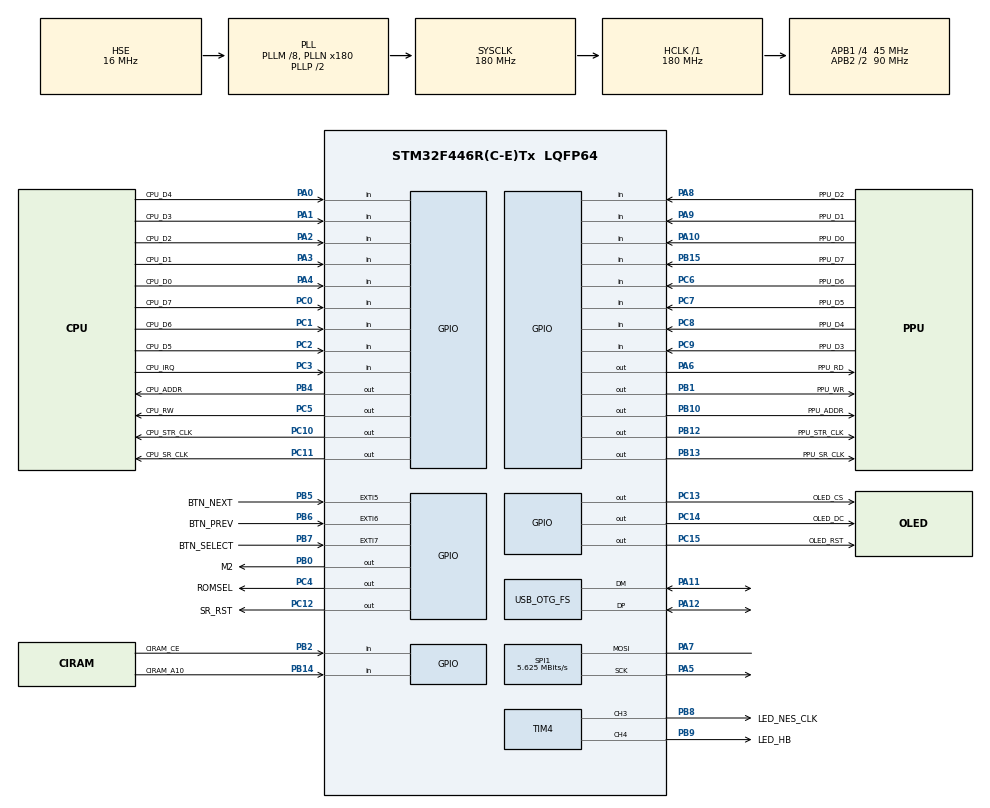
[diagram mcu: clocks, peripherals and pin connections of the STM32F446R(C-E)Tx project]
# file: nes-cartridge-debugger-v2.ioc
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Mcu.Family=STM32F4
Mcu.Name=STM32F446R(C-E)Tx
Mcu.Package=LQFP64
NVIC.EXTI9_5_IRQn=true\:0\:0\:false\:false\:true\:true\:true\:true
NVIC.OTG_FS_IRQn=true\:0\:0\:false\:false\:true\:false\:true\:true
NVIC.PriorityGroup=NVIC_PRIORITYGROUP_4
PA0-WKUP.GPIO_Label=CPU_D4
PA0-WKUP.Signal=GPIO_Input
PA1.GPIO_Label=CPU_D3
PA1.Signal=GPIO_Input
PA10.GPIO_Label=PPU_D0
PA10.Signal=GPIO_Input
PA11.Mode=Device_Only
PA11.Signal=USB_OTG_FS_DM
PA12.Mode=Device_Only
PA12.Signal=USB_OTG_FS_DP
PA13.Mode=Trace_Asynchronous_SW
PA13.Signal=SYS_JTMS-SWDIO
PA14.Mode=Trace_Asynchronous_SW
PA14.Signal=SYS_JTCK-SWCLK
PA2.GPIO_Label=CPU_D2
PA2.Signal=GPIO_Input
PA3.GPIO_Label=CPU_D1
PA3.Signal=GPIO_Input
PA4.GPIO_Label=CPU_D0
PA4.Signal=GPIO_Input
PA5.Mode=Simplex_Bidirectional_Master
PA5.Signal=SPI1_SCK
PA6.GPIO_Label=PPU_RD
PA6.GPIO_ModeDefaultOutputPP=GPIO_MODE_OUTPUT_PP
PA6.GPIO_PuPd=GPIO_NOPULL
PA6.GPIO_Speed=GPIO_SPEED_FREQ_VERY_HIGH
PA6.PinState=GPIO_PIN_SET
PA6.Signal=GPIO_Output
PA7.Mode=Simplex_Bidirectional_Master
PA7.Signal=SPI1_MOSI
PA8.GPIO_Label=PPU_D2
PA8.Signal=GPIO_Input
PA9.GPIO_Label=PPU_D1
PA9.Signal=GPIO_Input
PB0.GPIO_Label=M2
PB0.GPIO_Speed=GPIO_SPEED_FREQ_VERY_HIGH
PB0.Signal=GPIO_Output
PB1.GPIO_Label=PPU_WR
PB1.GPIO_Speed=GPIO_SPEED_FREQ_VERY_HIGH
PB1.PinState=GPIO_PIN_SET
PB1.Signal=GPIO_Output
PB10.GPIO_Label=PPU_ADDR
PB10.GPIO_Speed=GPIO_SPEED_FREQ_VERY_HIGH
PB10.Signal=GPIO_Output
PB12.GPIO_Label=PPU_STR_CLK
PB12.GPIO_Speed=GPIO_SPEED_FREQ_VERY_HIGH
PB12.Signal=GPIO_Output
PB13.GPIO_Label=PPU_SR_CLK
PB13.GPIO_Speed=GPIO_SPEED_FREQ_VERY_HIGH
PB13.Signal=GPIO_Output
PB14.GPIO_Label=CIRAM_A10
PB14.Signal=GPIO_Input
PB15.GPIO_Label=PPU_D7
PB15.Signal=GPIO_Input
PB2.GPIO_Label=CIRAM_CE
PB2.Signal=GPIO_Input
PB3.Mode=Trace_Asynchronous_SW
PB3.Signal=SYS_JTDO-SWO
PB4.GPIO_Label=CPU_ADDR
PB4.GPIO_Speed=GPIO_SPEED_FREQ_VERY_HIGH
PB4.Signal=GPIO_Output
PB5.GPIO_Label=BTN_NEXT
PB5.GPIO_ModeDefaultEXTI=GPIO_MODE_IT_FALLING
PB5.Signal=GPXTI5
PB6.GPIO_Label=BTN_PREV
PB6.GPIO_ModeDefaultEXTI=GPIO_MODE_IT_FALLING
PB6.Signal=GPXTI6
PB7.GPIO_Label=BTN_SELECT
PB7.GPIO_ModeDefaultEXTI=GPIO_MODE_IT_FALLING
PB7.Signal=GPXTI7
PB8.GPIO_Label=LED_NES_CLK
PB8.Signal=S_TIM4_CH3
PB9.GPIO_Label=LED_HB
PB9.Signal=S_TIM4_CH4
PC0.GPIO_Label=CPU_D7
PC0.Signal=GPIO_Input
PC1.GPIO_Label=CPU_D6
PC1.Signal=GPIO_Input
PC10.GPIO_Label=CPU_STR_CLK
PC10.GPIO_Speed=GPIO_SPEED_FREQ_VERY_HIGH
PC10.Signal=GPIO_Output
PC11.GPIO_Label=CPU_SR_CLK
PC11.GPIO_Speed=GPIO_SPEED_FREQ_VERY_HIGH
PC11.Signal=GPIO_Output
PC12.GPIO_Label=SR_RST
PC12.GPIO_Speed=GPIO_SPEED_FREQ_VERY_HIGH
PC12.Signal=GPIO_Output
PC13.GPIO_Label=OLED_CS
PC13.Signal=GPIO_Output
PC14-OSC32_IN.GPIO_Label=OLED_DC
PC14-OSC32_IN.Signal=GPIO_Output
PC15-OSC32_OUT.GPIO_Label=OLED_RST
PC15-OSC32_OUT.Signal=GPIO_Output
PC2.GPIO_Label=CPU_D5
PC2.Signal=GPIO_Input
PC3.GPIO_Label=CPU_IRQ
PC3.Signal=GPIO_Input
PC4.GPIO_Label=ROMSEL
PC4.GPIO_Speed=GPIO_SPEED_FREQ_VERY_HIGH
PC4.Signal=GPIO_Output
PC5.GPIO_Label=CPU_RW
PC5.Signal=GPIO_Output
PC6.GPIO_Label=PPU_D6
PC6.Signal=GPIO_Input
PC7.GPIO_Label=PPU_D5
PC7.Signal=GPIO_Input
PC8.GPIO_Label=PPU_D4
PC8.Signal=GPIO_Input
PC9.GPIO_Label=PPU_D3
PC9.Signal=GPIO_Input
PH0-OSC_IN.Mode=HSE-External-Oscillator
PH0-OSC_IN.Signal=RCC_OSC_IN
PH1-OSC_OUT.Mode=HSE-External-Oscillator
PH1-OSC_OUT.Signal=RCC_OSC_OUT
ProjectManager.HeapSize=0x1000
ProjectManager.StackSize=0x400
ProjectManager.TargetToolchain=STM32CubeIDE
RCC.AHBFreq_Value=180000000
RCC.APB1CLKDivider=RCC_HCLK_DIV4
RCC.APB1Freq_Value=45000000
RCC.APB1TimFreq_Value=90000000
RCC.APB2CLKDivider=RCC_HCLK_DIV2
RCC.APB2Freq_Value=90000000
RCC.APB2TimFreq_Value=180000000
RCC.CortexFreq_Value=180000000
RCC.HCLKFreq_Value=180000000
RCC.HSE_VALUE=16000000
RCC.LSE_Drive_CapabilityArg=+LSE_Drive_Capability
RCC.MSIAutoCalibration=DISABLED
RCC.MSICalibrationValue=0
RCC.PLLM=8
RCC.PLLN=180
RCC.PLLQ=3
RCC.PLLSAIM=8
RCC.PLLSAIN=96
RCC.PLLSAIP=RCC_PLLSAIP_DIV4
RCC.SYSCLKFreq_VALUE=180000000
RCC.SYSCLKSource=RCC_SYSCLKSOURCE_PLLCLK
RCC.USBCLockSelection=RCC_CLK48CLKSOURCE_PLLSAIP
RCC.USBFreq_Value=48000000
RCC.VCOOutputFreq_Value=360000000
SH.S_TIM4_CH3.0=TIM4_CH3,PWM Generation3 CH3
SH.S_TIM4_CH4.0=TIM4_CH4,PWM Generation4 CH4
SPI1.BaudRatePrescaler=SPI_BAUDRATEPRESCALER_16
SPI1.CLKPolarity=SPI_POLARITY_HIGH
SPI1.CalculateBaudRate=5.625 MBits/s
SPI1.Direction=SPI_DIRECTION_1LINE
SPI1.Mode=SPI_MODE_MASTER
SPI1.VirtualType=VM_MASTER
TIM2.Prescaler=90-1
TIM4.Channel-PWM\ Generation3\ CH3=TIM_CHANNEL_3
TIM4.Channel-PWM\ Generation4\ CH4=TIM_CHANNEL_4
TIM5.Prescaler=9000-1
USB_DEVICE.CLASS_NAME_FS=CDC
USB_DEVICE.VirtualMode-CDC_FS=Cdc
USB_DEVICE.VirtualModeFS=Cdc_FS
USB_OTG_FS.VirtualMode=Device_Only
VP_CRC_VS_CRC.Mode=CRC_Activate
VP_TIM2_VS_ClockSourceINT.Mode=Internal
VP_TIM3_VS_ClockSourceINT.Mode=Internal
VP_TIM4_VS_ClockSourceINT.Mode=Internal
VP_TIM5_VS_ClockSourceINT.Mode=Internal
VP_USB_DEVICE_VS_USB_DEVICE_CDC_FS.Mode=CDC_FS
board=custom

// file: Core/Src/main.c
/* USER CODE BEGIN Header */
/**
 ******************************************************************************
 * @file           : main.c
 * @brief          : Main program body
 ******************************************************************************
 * @attention
 *
 * Copyright (c) 2024 STMicroelectronics.
 * All rights reserved.
 *
 * This software is licensed under terms that can be found in the LICENSE file
 * in the root directory of this software component.
 * If no LICENSE file comes with this software, it is provided AS-IS.
 *
 ******************************************************************************
 */
/* USER CODE END Header */
#include "main.h"
#include "crc.h"
#include "spi.h"
#include "tim.h"
#include "usb_device.h"
#include "gpio.h"

/* USER CODE BEGIN Includes */
#include "ring_buffer.h"
#include <string.h>
#include "app.h"
/* USER CODE END Includes */

/* USER CODE BEGIN PV */
uint8_t update_screen_flag;
ring_buffer_t rx_buffer;
uint8_t button_interrupt_flag;
uint8_t button_select_flag;
uint8_t button_prev_flag;
uint8_t button_next_flag;
uint8_t i2c_interrupt_flag;
uint8_t rom_data_block[256];
app_t app;
/* USER CODE END PV */

void SystemClock_Config(void);

int main(void) {

	/* MCU Configuration--------------------------------------------------------*/

	/* Reset of all peripherals, Initializes the Flash interface and the Systick. */
	HAL_Init();

	/* Configure the system clock */
	SystemClock_Config();

	/* Initialize all configured peripherals */
	MX_GPIO_Init();
	MX_SPI1_Init();
	MX_TIM2_Init();
	MX_TIM3_Init();
	MX_USB_DEVICE_Init();
	MX_CRC_Init();
	MX_TIM4_Init();
	MX_TIM5_Init();
	/* USER CODE BEGIN 2 */

	// Initialize the ring buffer
	ring_buffer_init(&rx_buffer, 256, sizeof(uint8_t));
	// Do not halt RTC when core is halted by debugger
	__HAL_DBGMCU_UNFREEZE_RTC();
	// Initialize the flags
	update_screen_flag = 0;
	button_interrupt_flag = 0;
	button_select_flag = 0;
	button_prev_flag = 0;
	button_next_flag = 0;

	memset(rom_data_block, 0x00, sizeof(rom_data_block));

	// Start timers
	HAL_TIM_Base_Start(&htim2);

	/* USER CODE END 2 */

	/* Infinite loop */
	/* USER CODE BEGIN WHILE */
	app_init(&app);
	while (1) {
		/* USER CODE END WHILE */

		/* USER CODE BEGIN 3 */
		app_loop(&app);
	}
	/* USER CODE END 3 */
}

void SystemClock_Config(void) {
	RCC_OscInitTypeDef RCC_OscInitStruct = { 0 };
	RCC_ClkInitTypeDef RCC_ClkInitStruct = { 0 };

	/** Configure the main internal regulator output voltage
	 */
	__HAL_RCC_PWR_CLK_ENABLE();
	__HAL_PWR_VOLTAGESCALING_CONFIG(PWR_REGULATOR_VOLTAGE_SCALE1);

	/** Initializes the RCC Oscillators according to the specified parameters
	 * in the RCC_OscInitTypeDef structure.
	 */
	RCC_OscInitStruct.OscillatorType = RCC_OSCILLATORTYPE_HSE;
	RCC_OscInitStruct.HSEState = RCC_HSE_ON;
	RCC_OscInitStruct.PLL.PLLState = RCC_PLL_ON;
	RCC_OscInitStruct.PLL.PLLSource = RCC_PLLSOURCE_HSE;
	RCC_OscInitStruct.PLL.PLLM = 8;
	RCC_OscInitStruct.PLL.PLLN = 180;
	RCC_OscInitStruct.PLL.PLLP = RCC_PLLP_DIV2;
	RCC_OscInitStruct.PLL.PLLQ = 3;
	RCC_OscInitStruct.PLL.PLLR = 2;
	if (HAL_RCC_OscConfig(&RCC_OscInitStruct) != HAL_OK) {
		Error_Handler();
	}

	/** Activate the Over-Drive mode
	 */
	if (HAL_PWREx_EnableOverDrive() != HAL_OK) {
		Error_Handler();
	}

	/** Initializes the CPU, AHB and APB buses clocks
	 */
	RCC_ClkInitStruct.ClockType = RCC_CLOCKTYPE_HCLK | RCC_CLOCKTYPE_SYSCLK
			| RCC_CLOCKTYPE_PCLK1 | RCC_CLOCKTYPE_PCLK2;
	RCC_ClkInitStruct.SYSCLKSource = RCC_SYSCLKSOURCE_PLLCLK;
	RCC_ClkInitStruct.AHBCLKDivider = RCC_SYSCLK_DIV1;
	RCC_ClkInitStruct.APB1CLKDivider = RCC_HCLK_DIV4;
	RCC_ClkInitStruct.APB2CLKDivider = RCC_HCLK_DIV2;

	if (HAL_RCC_ClockConfig(&RCC_ClkInitStruct, FLASH_LATENCY_5) != HAL_OK) {
		Error_Handler();
	}
}

void Error_Handler(void) {
	__disable_irq();
	while (1) {
	}
}
